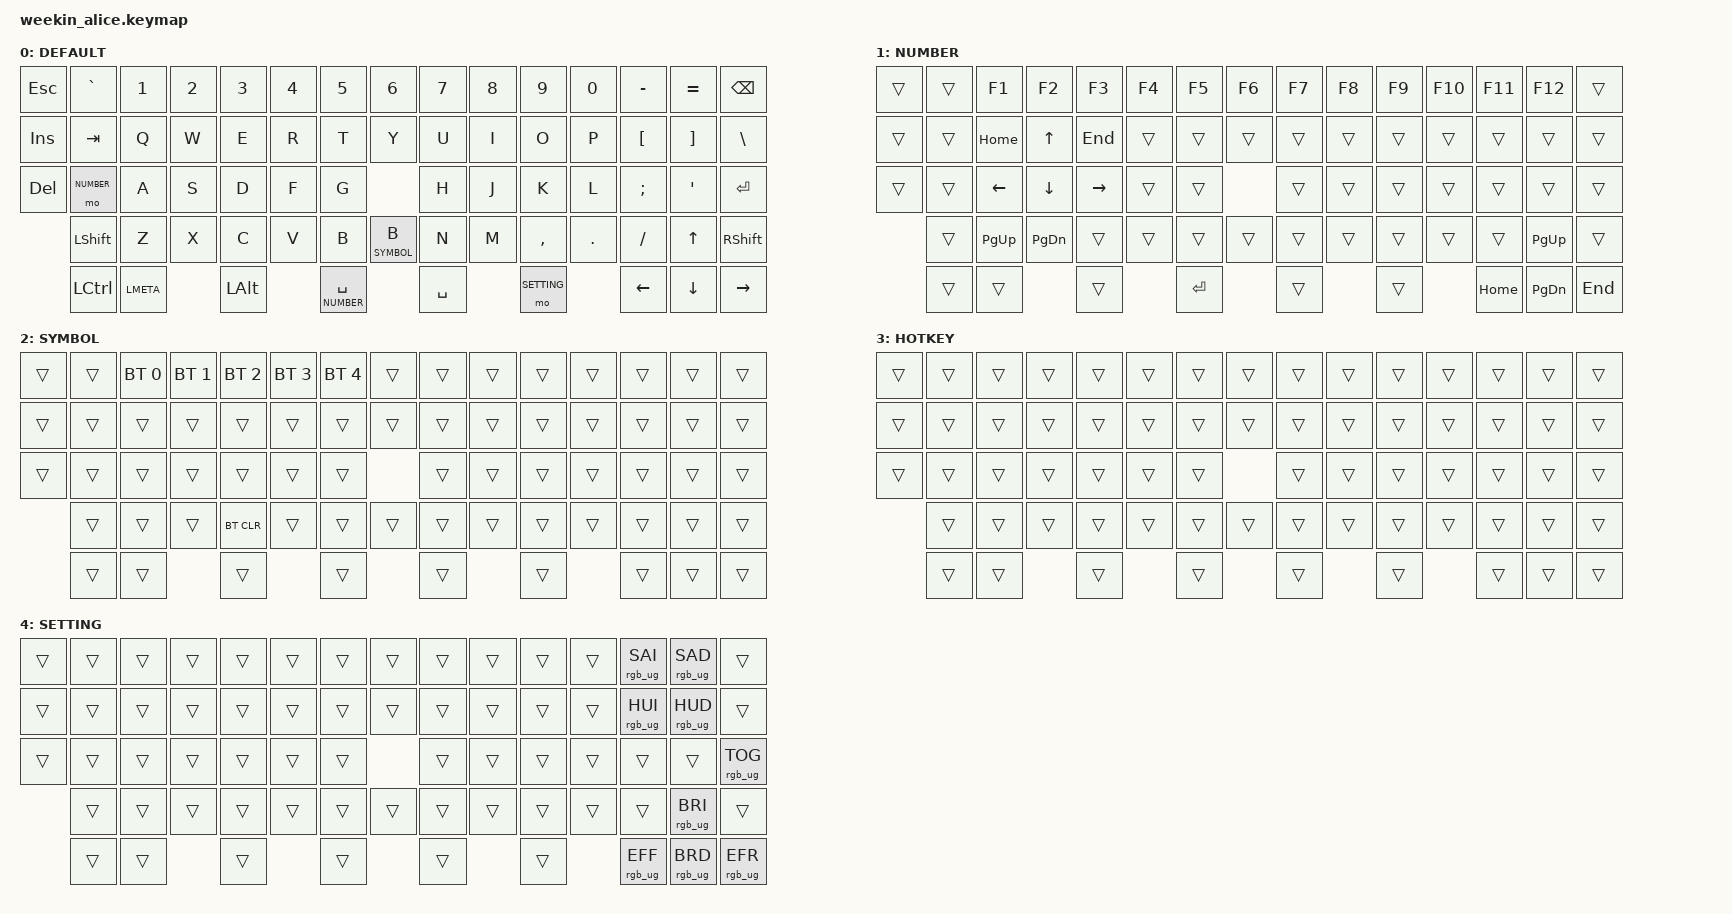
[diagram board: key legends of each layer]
/*
 * Copyright (c) 2022 The ZMK Contributors
 *
 * SPDX-License-Identifier: MIT
 */

#include <behaviors.dtsi>
#include <dt-bindings/zmk/keys.h>
#include <dt-bindings/zmk/bt.h>
#include <dt-bindings/zmk/rgb.h>

#define DEFAULT 0  //默认层
#define NUMBER  1  //第二层
#define SYMBOL  2  //第三层
#define HOTKEY  3  //第四层
#define SETTING 4  //第五层

/ {       //一下是宏功能
        // behaviors {
	// 	macro_phone: macro_1 {//电话号码宏
	// 		compatible = "zmk,behavior-macro";
	// 		label = "MACRO_PHONE";
	// 		#binding-cells = <0>;
	// 		bindings = <&kp N1>, <&kp N7>, <&kp N6>, <&kp N6>, <&kp N5>, 
        //                            <&kp N3>, <&kp N6>, <&kp N3>, <&kp N9>, <&kp N9>, <&kp N5>;
	// 	};
        //         macro_email: macro_2 {//邮箱地址宏
	// 		compatible = "zmk,behavior-macro";
	// 		label = "MACRO_EMAIL";
	// 		#binding-cells = <0>;
	// 		bindings = <&kp C>, <&kp H>, <&kp E>, <&kp N>, <&kp Z>, <&kp H>, <&kp I>, 
        //                            <&kp H>, <&kp A>, <&kp O>, <&kp N1>, <&kp N1>, <&kp N0>, <&kp N9>,
        //                            <&kp AT>, <&kp Q>, <&kp Q>, <&kp DOT>, <&kp C>, <&kp O>, <&kp M>;
	// 	};
        //         macro_pass: macro_3 {//地址宏
	// 		compatible = "zmk,behavior-macro";
	// 		label = "MACRO_PASS";
	// 		#binding-cells = <0>;
	// 		bindings = <&kp LS(C)>, <&kp H>, <&kp E>, <&kp N>, <&kp Z>, <&kp H>, <&kp I>, 
        //                            <&kp H>, <&kp A>, <&kp O>, <&kp N8>, <&kp DOT>, <&kp N1>, <&kp N1>;
	// 	};
	// };
//&kp LS(C)   LS=left shift   +c   等于大写的C
        keymap {
                compatible = "zmk,keymap";

        default_layer {
//&kp TAB 相当于QMK里的KC_TAB
//&mt RSHIFT RET ：单击这个按键是后面的RET（回车），长按是前面的RSHIFT键
//&lt NUMBER SPACE :单击是SPACE键，长按是临时切换到NUMBER层，松开回到默认层
//&none : 这个按键为空
//&trans : 保持和上一层同个按键一样的键值
//&mo SETTING :同QMK的MO，临时切层到SETTING层
//&reset  :软复位
// -------------------------------------------------------------------------------------
// |  Q  |  W  |  E  |
// |  A  |  S  |  D  |
// &bt BT_CLR 无法链接蓝牙是用这个清除
        label = "DEFAULT";  //屏幕显示DEFAULT，下同
// -------------------------------------------------------------------------------------
// |  ESC |  ~  |  1  |  2 |  3  |  4  |  5  | 6 |      |  7  |  8  |  9   | 10 |   -  |   =  |  BKSP |
// |  INS | TAB |  Q  |  W |  E  |  R  |  T  | Y |      |  U  |  I  |  O   |  P |   [  |   ]  |   \   |
// |  DEL |CAPS |  A  |  S |  D  |  F  |  G  | H |      |  J  |  K  |  L   |  ; |   '  |      | ENTER |
// |      |SHIFT|  Z  |  X |  C  |  V  |  B  | B |      |  N  |  M  |  ,   |  . |   ?  |  UP  | SHIFT |
// |      |CTRL | WIN |    | ALT |     |SPACE|   |      |SPACE|     |NUMBER|    | LEFT | DOWN | RIGHT |
        bindings = <
  &kp ESC    &kp GRAVE    &kp N1     &kp N2   &kp N3    &kp N4    &kp N5               &kp N6               &kp N7     &kp N8     &kp N9       &kp N0     &kp MINUS    &kp EQUAL    &kp BSPC 
  &kp INS    &kp TAB      &kp Q      &kp W    &kp E     &kp R     &kp T                &kp Y                &kp U      &kp I      &kp O        &kp P      &kp LBKT     &kp RBKT     &kp BSLH
  &kp DEL    &mo NUMBER     &kp A      &kp S    &kp D     &kp F     &kp G                &kp H                &kp J      &kp K      &kp L        &kp SEMI   &kp APOS                  &kp ENTER
             &kp LSHFT    &kp Z      &kp X    &kp C     &kp V     &kp B                &lt SYMBOL B         &kp N      &kp M      &kp COMMA    &kp DOT    &kp SLASH    &kp UP       &kp RSHFT
             &kp LCTRL    &kp LMETA           &kp LALT            &lt NUMBER SPACE                          &kp SPACE             &mo SETTING             &kp LEFT     &kp DOWN     &kp RIGHT
                   >;
                     };

                number_layer {


        label = "NUMBER";
// -------------------------------------------------------------------------------------
// |  ESC |  ~  |  1  |  2 |  3  |  4  |  5  | 6 |      |  7  |  8  |  9   | 10 |   -  |   =  |  BKSP |
// |  INS | TAB |  Q  |  W |  E  |  R  |  T  | Y |      |  U  |  I  |  O   |  P |   [  |   ]  |   \   |
// |  DEL |CAPS |  A  |  S |  D  |  F  |  G  | H |      |  J  |  K  |  L   |  ; |   '  |      | ENTER |
// |      |SHIFT|  Z  |  X |  C  |  V  |  B  | B |      |  N  |  M  |  ,   |  . |   ?  |  UP  | SHIFT |
// |      |CTRL | WIN |    | ALT |     |SPACE|   |      |SPACE|     |NUMBER|    | LEFT | DOWN | RIGHT |
        bindings = <
  &trans     &trans       &kp F1       &kp F2    &kp F3   &kp F4    &kp F5    &kp F6    &kp F7     &kp F8     &kp F9       &kp F10    &kp F11           &kp F12               &trans 
  &trans     &trans       &kp HOME    &kp UP   &kp END    &trans    &trans       &trans    &trans     &trans     &trans       &trans     &trans            &trans                &trans
  &trans     &trans       &kp LEFT    &kp DOWN   &kp RIGHT    &trans    &trans       &trans    &trans     &trans     &trans       &trans     &trans                                  &trans
             &trans       &kp PG_UP    &kp PG_DN   &trans    &trans    &trans       &trans    &trans     &trans     &trans       &trans     &trans            &kp PG_UP             &trans
             &trans       &trans             &trans              &kp ENTER                 &trans                &trans                  &kp HOME          &kp PG_DN             &kp END
                  >;
                     };

                symbol_layer {

        label = "SYMBOL";
// -------------------------------------------------------------------------------------
// |  ESC |  ~  |  1  |  2 |  3  |  4  |  5  | 6 |      |  7  |  8  |  9   | 10 |   -  |   =  |  BKSP |
// |  INS | TAB |  Q  |  W |  E  |  R  |  T  | Y |      |  U  |  I  |  O   |  P |   [  |   ]  |   \   |
// |  DEL |CAPS |  A  |  S |  D  |  F  |  G  | H |      |  J  |  K  |  L   |  ; |   '  |      | ENTER |
// |      |SHIFT|  Z  |  X |  C  |  V  |  B  | B |      |  N  |  M  |  ,   |  . |   ?  |  UP  | SHIFT |
// |      |CTRL | WIN |    | ALT |     |SPACE|   |      |SPACE|     |NUMBER|    | LEFT | DOWN | RIGHT |
        bindings = <
  &trans     &trans         &bt BT_SEL 0   &bt BT_SEL 1   &bt BT_SEL 2  &bt BT_SEL 3   &bt BT_SEL 4   &trans         &trans     &trans     &trans       &trans     &trans       &trans       &trans      
  &trans     &trans         &trans         &trans         &trans        &trans         &trans         &trans         &trans     &trans     &trans       &trans     &trans       &trans       &trans
  &trans     &trans         &trans         &trans         &trans        &trans         &trans         &trans         &trans     &trans     &trans       &trans     &trans                    &trans
             &trans         &trans         &trans         &bt BT_CLR    &trans         &trans         &trans         &trans     &trans     &trans       &trans     &trans       &trans       &trans
             &trans         &trans                        &trans                       &trans                        &trans                &trans                  &trans       &trans       &trans
                        >;
                };

                hotkey_layer {
// -----------------------------------------------------------------------------------------
// |   |   |   |   |   |   |     |   |   |   |   |   |   |
// |   |   |   |   |   |   |     |   |   |   |   |   |   |
// |   |   |   |   |   |   |     |   |   |   |   |   |   |
//             |     |     |     |     |     |
        label = "HOTKEY";
        bindings = <
  &trans     &trans       &trans    &trans   &trans    &trans    &trans       &trans    &trans     &trans     &trans       &trans     &trans       &trans       &trans 
  &trans     &trans       &trans    &trans   &trans    &trans    &trans       &trans    &trans     &trans     &trans       &trans     &trans       &trans       &trans
  &trans     &trans       &trans    &trans   &trans    &trans    &trans       &trans    &trans     &trans     &trans       &trans     &trans                    &trans
             &trans       &trans    &trans   &trans    &trans    &trans       &trans    &trans     &trans     &trans       &trans     &trans       &trans       &trans
             &trans       &trans             &trans              &trans                 &trans                &trans                  &trans       &trans       &trans
         >;
                };
                
// -----------------------------------------------------------------------------------------
// |    | RGB BRI+ | RGB SAT+ | RGB HUE+ | RGB ANI+ | RGB TOG |   | BT1 | BT2 | BT3 | BT4 | BT5 | BT CLR |
// |    | RGB BRI- | RGB SAT- | RGB HUE- | RGB ANI- |         |   | LEFT| UP  | DOWN|RIGHT|     |        |
// |    |  RESET   |          |          |  RESET   |         |   | HOME| END |     |     |     |        |
//                                              |     |     |     |     |     |
                  setting_layer {
        label = "SETTING";
        bindings = <
  &trans     &trans       &trans    &trans   &trans    &trans    &trans       &trans    &trans     &trans     &trans       &trans     &rgb_ug RGB_SAI   &rgb_ug RGB_SAD       &trans 
  &trans     &trans       &trans    &trans   &trans    &trans    &trans       &trans    &trans     &trans     &trans       &trans     &rgb_ug RGB_HUI   &rgb_ug RGB_HUD       &trans
  &trans     &trans       &trans    &trans   &trans    &trans    &trans       &trans    &trans     &trans     &trans       &trans     &trans                                  &rgb_ug RGB_TOG
             &trans       &trans    &trans   &trans    &trans    &trans       &trans    &trans     &trans     &trans       &trans     &trans            &rgb_ug RGB_BRI       &trans
             &trans       &trans             &trans              &trans                 &trans                &trans                  &rgb_ug RGB_EFF   &rgb_ug RGB_BRD       &rgb_ug RGB_EFR 
                        >;
                };
        };
};
